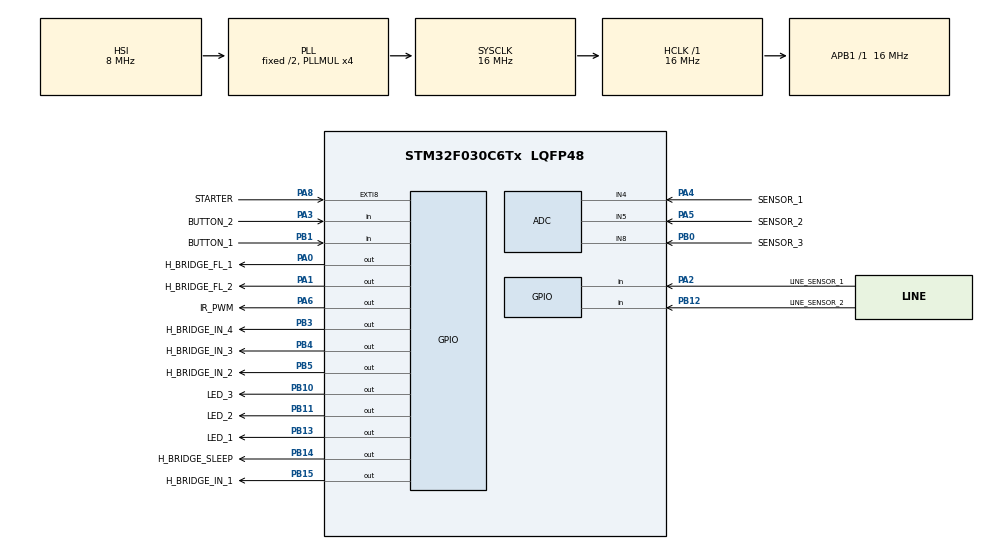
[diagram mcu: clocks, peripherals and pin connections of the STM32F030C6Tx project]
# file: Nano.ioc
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ADC.ContinuousConvMode=ENABLE
ADC.DMAContinuousRequests=DISABLE
ADC.EOCSelection=ADC_EOC_SINGLE_CONV
ADC.SamplingTime=ADC_SAMPLETIME_1CYCLE_5
Mcu.Family=STM32F0
Mcu.Name=STM32F030C6Tx
Mcu.Package=LQFP48
NVIC.ADC1_IRQn=true\:0\:0\:false\:false\:true\:true\:true\:true
NVIC.EXTI4_15_IRQn=true\:0\:0\:false\:false\:true\:true\:true\:true
NVIC.TIM3_IRQn=true\:2\:0\:true\:false\:true\:true\:true\:true
PA0.GPIO_Label=H_BRIDGE_FL_1
PA0.GPIO_PuPd=GPIO_PULLUP
PA0.PinState=GPIO_PIN_SET
PA0.Signal=GPIO_Output
PA1.GPIO_Label=H_BRIDGE_FL_2
PA1.GPIO_PuPd=GPIO_PULLUP
PA1.PinState=GPIO_PIN_SET
PA1.Signal=GPIO_Output
PA13.Mode=Serial_Wire
PA13.Signal=SYS_SWDIO
PA14.Mode=Serial_Wire
PA14.Signal=SYS_SWCLK
PA2.GPIO_Label=LINE_SENSOR_1
PA2.Signal=GPIO_Input
PA3.GPIO_Label=BUTTON_2
PA3.GPIO_PuPd=GPIO_PULLUP
PA3.Signal=GPIO_Input
PA4.GPIO_Label=SENSOR_1
PA4.Mode=IN4
PA4.Signal=ADC_IN4
PA5.GPIO_Label=SENSOR_2
PA5.Mode=IN5
PA5.Signal=ADC_IN5
PA6.GPIO_Label=IR_PWM
PA6.Signal=GPIO_Output
PA8.GPIO_Label=STARTER
PA8.GPIO_ModeDefaultEXTI=GPIO_MODE_IT_FALLING
PA8.Signal=GPXTI8
PB0.GPIO_Label=SENSOR_3
PB0.Mode=IN8
PB0.Signal=ADC_IN8
PB1.GPIO_Label=BUTTON_1
PB1.GPIO_PuPd=GPIO_PULLUP
PB1.Signal=GPIO_Input
PB10.GPIO_Label=LED_3
PB10.Signal=GPIO_Output
PB11.GPIO_Label=LED_2
PB11.Signal=GPIO_Output
PB12.GPIO_Label=LINE_SENSOR_2
PB12.Signal=GPIO_Input
PB13.GPIO_Label=LED_1
PB13.Signal=GPIO_Output
PB14.GPIO_Label=H_BRIDGE_SLEEP
PB14.GPIO_PuPd=GPIO_PULLDOWN
PB14.PinState=GPIO_PIN_SET
PB14.Signal=GPIO_Output
PB15.GPIO_Label=H_BRIDGE_IN_1
PB15.GPIO_Speed=GPIO_SPEED_FREQ_HIGH
PB15.Signal=GPIO_Output
PB3.GPIO_Label=H_BRIDGE_IN_4
PB3.GPIO_Speed=GPIO_SPEED_FREQ_HIGH
PB3.Signal=GPIO_Output
PB4.GPIO_Label=H_BRIDGE_IN_3
PB4.GPIO_Speed=GPIO_SPEED_FREQ_HIGH
PB4.Signal=GPIO_Output
PB5.GPIO_Label=H_BRIDGE_IN_2
PB5.GPIO_Speed=GPIO_SPEED_FREQ_HIGH
PB5.Signal=GPIO_Output
PF0-OSC_IN.Mode=HSE-External-Oscillator
PF0-OSC_IN.Signal=RCC_OSC_IN
PF1-OSC_OUT.Mode=HSE-External-Oscillator
PF1-OSC_OUT.Signal=RCC_OSC_OUT
ProjectManager.HeapSize=0x200
ProjectManager.StackSize=0x400
ProjectManager.TargetToolchain=STM32CubeIDE
RCC.AHBFreq_Value=16000000
RCC.APB1Freq_Value=16000000
RCC.APB1TimFreq_Value=16000000
RCC.HCLKFreq_Value=16000000
RCC.PLLMUL=RCC_PLL_MUL4
RCC.SYSCLKFreq_VALUE=16000000
RCC.SYSCLKSource=RCC_SYSCLKSOURCE_PLLCLK
TIM1.Prescaler=15
TIM3.AutoReloadPreload=TIM_AUTORELOAD_PRELOAD_ENABLE
TIM3.Period=0
TIM3.Prescaler=15999
VP_TIM1_VS_ClockSourceINT.Mode=Internal
VP_TIM3_VS_ClockSourceINT.Mode=Internal
board=custom

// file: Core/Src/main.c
/* USER CODE BEGIN Header */
/**
  ******************************************************************************
  * @file           : main.c
  * @brief          : Main program body
  ******************************************************************************
  * @attention
  *
  * Copyright (c) 2022 STMicroelectronics.
  * All rights reserved.
  *
  * This software is licensed under terms that can be found in the LICENSE file
  * in the root directory of this software component.
  * If no LICENSE file comes with this software, it is provided AS-IS.
  *
  ******************************************************************************
  */
/* USER CODE END Header */
#include "main.h"

ADC_HandleTypeDef hadc;

TIM_HandleTypeDef htim1;
TIM_HandleTypeDef htim3;

/* USER CODE BEGIN PV */
volatile static uint16_t sensor_value[3];

uint8_t line_sensor_1_value;
uint8_t line_sensor_2_value;

uint8_t button_1_value;
uint8_t button_2_value;

uint32_t tempCode;
uint8_t bitIndex;
uint8_t cmd;
uint8_t cmdli;
uint32_t code;

/* USER CODE END PV */

void SystemClock_Config(void);
static void MX_GPIO_Init(void);
static void MX_ADC_Init(void);
static void MX_TIM3_Init(void);
static void MX_TIM1_Init(void);

/* USER CODE BEGIN 0 */
void HAL_TIM_PeriodElapsedCallback(TIM_HandleTypeDef *htim)
{
  if (htim == &htim3) {
    HAL_GPIO_TogglePin(IR_PWM_GPIO_Port, IR_PWM_Pin);
    //HAL_GPIO_TogglePin(LED_1_GPIO_Port, LED_1_Pin);
  }
}

void motorBreak()
{
	HAL_GPIO_WritePin(H_BRIDGE_IN_1_GPIO_Port, H_BRIDGE_IN_1_Pin, GPIO_PIN_RESET);
	HAL_GPIO_WritePin(H_BRIDGE_IN_2_GPIO_Port, H_BRIDGE_IN_2_Pin, GPIO_PIN_RESET);
	HAL_GPIO_WritePin(H_BRIDGE_IN_3_GPIO_Port, H_BRIDGE_IN_3_Pin, GPIO_PIN_RESET);
	HAL_GPIO_WritePin(H_BRIDGE_IN_4_GPIO_Port, H_BRIDGE_IN_4_Pin, GPIO_PIN_RESET);
}
void motorRevers()
{
	HAL_GPIO_WritePin(H_BRIDGE_IN_1_GPIO_Port, H_BRIDGE_IN_1_Pin, GPIO_PIN_RESET);
	HAL_GPIO_WritePin(H_BRIDGE_IN_2_GPIO_Port, H_BRIDGE_IN_2_Pin, GPIO_PIN_SET);
	HAL_GPIO_WritePin(H_BRIDGE_IN_3_GPIO_Port, H_BRIDGE_IN_3_Pin, GPIO_PIN_SET);
	HAL_GPIO_WritePin(H_BRIDGE_IN_4_GPIO_Port, H_BRIDGE_IN_4_Pin, GPIO_PIN_RESET);
}
void motorRotationRight()
{
	HAL_GPIO_WritePin(H_BRIDGE_IN_1_GPIO_Port, H_BRIDGE_IN_1_Pin, GPIO_PIN_SET);
	HAL_GPIO_WritePin(H_BRIDGE_IN_2_GPIO_Port, H_BRIDGE_IN_2_Pin, GPIO_PIN_RESET);
	HAL_GPIO_WritePin(H_BRIDGE_IN_3_GPIO_Port, H_BRIDGE_IN_3_Pin, GPIO_PIN_SET);
	HAL_GPIO_WritePin(H_BRIDGE_IN_4_GPIO_Port, H_BRIDGE_IN_4_Pin, GPIO_PIN_RESET);
}
void motorRotationLeft()
{
	HAL_GPIO_WritePin(H_BRIDGE_IN_1_GPIO_Port, H_BRIDGE_IN_1_Pin, GPIO_PIN_RESET);
	HAL_GPIO_WritePin(H_BRIDGE_IN_2_GPIO_Port, H_BRIDGE_IN_2_Pin, GPIO_PIN_SET);
	HAL_GPIO_WritePin(H_BRIDGE_IN_3_GPIO_Port, H_BRIDGE_IN_3_Pin, GPIO_PIN_RESET);
	HAL_GPIO_WritePin(H_BRIDGE_IN_4_GPIO_Port, H_BRIDGE_IN_4_Pin, GPIO_PIN_SET);
}
void motorForward()
{
	HAL_GPIO_WritePin(H_BRIDGE_IN_1_GPIO_Port, H_BRIDGE_IN_1_Pin, GPIO_PIN_SET);
	HAL_GPIO_WritePin(H_BRIDGE_IN_2_GPIO_Port, H_BRIDGE_IN_2_Pin, GPIO_PIN_RESET);
	HAL_GPIO_WritePin(H_BRIDGE_IN_3_GPIO_Port, H_BRIDGE_IN_3_Pin, GPIO_PIN_RESET);
	HAL_GPIO_WritePin(H_BRIDGE_IN_4_GPIO_Port, H_BRIDGE_IN_4_Pin, GPIO_PIN_SET);
}
/* USER CODE END 0 */

int main(void)
{

  /* MCU Configuration--------------------------------------------------------*/

  /* Reset of all peripherals, Initializes the Flash interface and the Systick. */
  HAL_Init();

  /* Configure the system clock */
  SystemClock_Config();

  /* Initialize all configured peripherals */
  MX_GPIO_Init();
  MX_ADC_Init();
  MX_TIM3_Init();
  MX_TIM1_Init();
  /* USER CODE BEGIN 2 */
  HAL_TIM_Base_Start(&htim1);
  __HAL_TIM_SET_COUNTER(&htim1, 0);

  HAL_TIM_Base_Start_IT(&htim3);

  HAL_ADC_Start(&hadc);
  HAL_ADCEx_Calibration_Start(&hadc);

  //HAL_ADCEx_Calibration_Start(&hadc);
  //HAL_ADC_Start_DMA(&hadc, (uint32_t*)sensor_value, 3);

  /* USER CODE END 2 */

  /* Infinite loop */
  /* USER CODE BEGIN WHILE */

  while (1)
  {

	  HAL_ADC_PollForConversion(&hadc, HAL_MAX_DELAY);
	  sensor_value[0] = HAL_ADC_GetValue(&hadc);

	  HAL_ADC_PollForConversion(&hadc, HAL_MAX_DELAY);
	  sensor_value[1] = HAL_ADC_GetValue(&hadc);

	  HAL_ADC_PollForConversion(&hadc, HAL_MAX_DELAY);
	  sensor_value[2] = HAL_ADC_GetValue(&hadc);

	  line_sensor_1_value = HAL_GPIO_ReadPin(LINE_SENSOR_1_GPIO_Port,LINE_SENSOR_1_Pin);
	  line_sensor_2_value = HAL_GPIO_ReadPin(LINE_SENSOR_2_GPIO_Port,LINE_SENSOR_2_Pin);

	  if(code==1086290565)// sprawdza czy robor otrzymał start
	  {
		  while(1)
		  {
			  if(code==1086290055){while(1){motorBreak();}}
			  motorForward();

			  HAL_ADC_PollForConversion(&hadc, HAL_MAX_DELAY);
			  sensor_value[0] = HAL_ADC_GetValue(&hadc);

			  HAL_ADC_PollForConversion(&hadc, HAL_MAX_DELAY);
			  sensor_value[1] = HAL_ADC_GetValue(&hadc);

			  HAL_ADC_PollForConversion(&hadc, HAL_MAX_DELAY);
			  sensor_value[2] = HAL_ADC_GetValue(&hadc);

			  line_sensor_1_value = HAL_GPIO_ReadPin(LINE_SENSOR_1_GPIO_Port,LINE_SENSOR_1_Pin);
			  line_sensor_2_value = HAL_GPIO_ReadPin(LINE_SENSOR_2_GPIO_Port,LINE_SENSOR_2_Pin);

			  if(sensor_value[2]<=2200)motorForward();
			  else if(sensor_value[0]<=2200)motorRotationLeft();
			  else if(sensor_value[1]<=2200)motorRotationRight();
			  else if(line_sensor_1_value==0)
			  {
				  motorRevers();
				  HAL_Delay(500);
				  motorRotationLeft();
				  HAL_Delay(500);
				  motorBreak();
			  }
			  else if(line_sensor_2_value==0)
			  {
				  motorRevers();
				  HAL_Delay(500);
				  motorRotationRight();
				  HAL_Delay(500);
				  motorBreak();
			  }
			  else motorForward();

		  }

	  }
    /* USER CODE END WHILE */

  }
}

void SystemClock_Config(void)
{
  RCC_OscInitTypeDef RCC_OscInitStruct = {0};
  RCC_ClkInitTypeDef RCC_ClkInitStruct = {0};

  /** Initializes the RCC Oscillators according to the specified parameters
  * in the RCC_OscInitTypeDef structure.
  */
  RCC_OscInitStruct.OscillatorType = RCC_OSCILLATORTYPE_HSI|RCC_OSCILLATORTYPE_HSI14;
  RCC_OscInitStruct.HSIState = RCC_HSI_ON;
  RCC_OscInitStruct.HSI14State = RCC_HSI14_ON;
  RCC_OscInitStruct.HSICalibrationValue = RCC_HSICALIBRATION_DEFAULT;
  RCC_OscInitStruct.HSI14CalibrationValue = 16;
  RCC_OscInitStruct.PLL.PLLState = RCC_PLL_ON;
  RCC_OscInitStruct.PLL.PLLSource = RCC_PLLSOURCE_HSI;
  RCC_OscInitStruct.PLL.PLLMUL = RCC_PLL_MUL4;
  RCC_OscInitStruct.PLL.PREDIV = RCC_PREDIV_DIV1;
  if (HAL_RCC_OscConfig(&RCC_OscInitStruct) != HAL_OK)
  {
    Error_Handler();
  }

  /** Initializes the CPU, AHB and APB buses clocks
  */
  RCC_ClkInitStruct.ClockType = RCC_CLOCKTYPE_HCLK|RCC_CLOCKTYPE_SYSCLK
                              |RCC_CLOCKTYPE_PCLK1;
  RCC_ClkInitStruct.SYSCLKSource = RCC_SYSCLKSOURCE_PLLCLK;
  RCC_ClkInitStruct.AHBCLKDivider = RCC_SYSCLK_DIV1;
  RCC_ClkInitStruct.APB1CLKDivider = RCC_HCLK_DIV1;

  if (HAL_RCC_ClockConfig(&RCC_ClkInitStruct, FLASH_LATENCY_0) != HAL_OK)
  {
    Error_Handler();
  }
}

static void MX_ADC_Init(void)
{

  ADC_ChannelConfTypeDef sConfig = {0};

  /** Configure the global features of the ADC (Clock, Resolution, Data Alignment and number of conversion)
  */
  hadc.Instance = ADC1;
  hadc.Init.ClockPrescaler = ADC_CLOCK_ASYNC_DIV1;
  hadc.Init.Resolution = ADC_RESOLUTION_12B;
  hadc.Init.DataAlign = ADC_DATAALIGN_RIGHT;
  hadc.Init.ScanConvMode = ADC_SCAN_DIRECTION_FORWARD;
  hadc.Init.EOCSelection = ADC_EOC_SINGLE_CONV;
  hadc.Init.LowPowerAutoWait = DISABLE;
  hadc.Init.LowPowerAutoPowerOff = DISABLE;
  hadc.Init.ContinuousConvMode = ENABLE;
  hadc.Init.DiscontinuousConvMode = DISABLE;
  hadc.Init.ExternalTrigConv = ADC_SOFTWARE_START;
  hadc.Init.ExternalTrigConvEdge = ADC_EXTERNALTRIGCONVEDGE_NONE;
  hadc.Init.DMAContinuousRequests = DISABLE;
  hadc.Init.Overrun = ADC_OVR_DATA_PRESERVED;
  if (HAL_ADC_Init(&hadc) != HAL_OK)
  {
    Error_Handler();
  }

  /** Configure for the selected ADC regular channel to be converted.
  */
  sConfig.Channel = ADC_CHANNEL_4;
  sConfig.Rank = ADC_RANK_CHANNEL_NUMBER;
  sConfig.SamplingTime = ADC_SAMPLETIME_1CYCLE_5;
  if (HAL_ADC_ConfigChannel(&hadc, &sConfig) != HAL_OK)
  {
    Error_Handler();
  }

  /** Configure for the selected ADC regular channel to be converted.
  */
  sConfig.Channel = ADC_CHANNEL_5;
  if (HAL_ADC_ConfigChannel(&hadc, &sConfig) != HAL_OK)
  {
    Error_Handler();
  }

  /** Configure for the selected ADC regular channel to be converted.
  */
  sConfig.Channel = ADC_CHANNEL_8;
  if (HAL_ADC_ConfigChannel(&hadc, &sConfig) != HAL_OK)
  {
    Error_Handler();
  }

}

static void MX_TIM1_Init(void)
{

  TIM_ClockConfigTypeDef sClockSourceConfig = {0};
  TIM_MasterConfigTypeDef sMasterConfig = {0};

  htim1.Instance = TIM1;
  htim1.Init.Prescaler = 15;
  htim1.Init.CounterMode = TIM_COUNTERMODE_UP;
  htim1.Init.Period = 65535;
  htim1.Init.ClockDivision = TIM_CLOCKDIVISION_DIV1;
  htim1.Init.RepetitionCounter = 0;
  htim1.Init.AutoReloadPreload = TIM_AUTORELOAD_PRELOAD_DISABLE;
  if (HAL_TIM_Base_Init(&htim1) != HAL_OK)
  {
    Error_Handler();
  }
  sClockSourceConfig.ClockSource = TIM_CLOCKSOURCE_INTERNAL;
  if (HAL_TIM_ConfigClockSource(&htim1, &sClockSourceConfig) != HAL_OK)
  {
    Error_Handler();
  }
  sMasterConfig.MasterOutputTrigger = TIM_TRGO_RESET;
  sMasterConfig.MasterSlaveMode = TIM_MASTERSLAVEMODE_DISABLE;
  if (HAL_TIMEx_MasterConfigSynchronization(&htim1, &sMasterConfig) != HAL_OK)
  {
    Error_Handler();
  }

}

static void MX_TIM3_Init(void)
{

  TIM_ClockConfigTypeDef sClockSourceConfig = {0};
  TIM_MasterConfigTypeDef sMasterConfig = {0};

  htim3.Instance = TIM3;
  htim3.Init.Prescaler = 15999;
  htim3.Init.CounterMode = TIM_COUNTERMODE_UP;
  htim3.Init.Period = 0;
  htim3.Init.ClockDivision = TIM_CLOCKDIVISION_DIV1;
  htim3.Init.AutoReloadPreload = TIM_AUTORELOAD_PRELOAD_ENABLE;
  if (HAL_TIM_Base_Init(&htim3) != HAL_OK)
  {
    Error_Handler();
  }
  sClockSourceConfig.ClockSource = TIM_CLOCKSOURCE_INTERNAL;
  if (HAL_TIM_ConfigClockSource(&htim3, &sClockSourceConfig) != HAL_OK)
  {
    Error_Handler();
  }
  sMasterConfig.MasterOutputTrigger = TIM_TRGO_RESET;
  sMasterConfig.MasterSlaveMode = TIM_MASTERSLAVEMODE_DISABLE;
  if (HAL_TIMEx_MasterConfigSynchronization(&htim3, &sMasterConfig) != HAL_OK)
  {
    Error_Handler();
  }

}

static void MX_GPIO_Init(void)
{
  GPIO_InitTypeDef GPIO_InitStruct = {0};

  /* GPIO Ports Clock Enable */
  __HAL_RCC_GPIOF_CLK_ENABLE();
  __HAL_RCC_GPIOA_CLK_ENABLE();
  __HAL_RCC_GPIOB_CLK_ENABLE();

  /*Configure GPIO pin Output Level */
  HAL_GPIO_WritePin(GPIOA, H_BRIDGE_FL_1_Pin|H_BRIDGE_FL_2_Pin, GPIO_PIN_SET);

  /*Configure GPIO pin Output Level */
  HAL_GPIO_WritePin(IR_PWM_GPIO_Port, IR_PWM_Pin, GPIO_PIN_RESET);

  /*Configure GPIO pin Output Level */
  HAL_GPIO_WritePin(GPIOB, LED_3_Pin|LED_2_Pin|LED_1_Pin|H_BRIDGE_IN_1_Pin
                          |H_BRIDGE_IN_4_Pin|H_BRIDGE_IN_3_Pin|H_BRIDGE_IN_2_Pin, GPIO_PIN_RESET);

  /*Configure GPIO pin Output Level */
  HAL_GPIO_WritePin(H_BRIDGE_SLEEP_GPIO_Port, H_BRIDGE_SLEEP_Pin, GPIO_PIN_SET);

  /*Configure GPIO pins : H_BRIDGE_FL_1_Pin H_BRIDGE_FL_2_Pin */
  GPIO_InitStruct.Pin = H_BRIDGE_FL_1_Pin|H_BRIDGE_FL_2_Pin;
  GPIO_InitStruct.Mode = GPIO_MODE_OUTPUT_PP;
  GPIO_InitStruct.Pull = GPIO_PULLUP;
  GPIO_InitStruct.Speed = GPIO_SPEED_FREQ_LOW;
  HAL_GPIO_Init(GPIOA, &GPIO_InitStruct);

  /*Configure GPIO pin : LINE_SENSOR_1_Pin */
  GPIO_InitStruct.Pin = LINE_SENSOR_1_Pin;
  GPIO_InitStruct.Mode = GPIO_MODE_INPUT;
  GPIO_InitStruct.Pull = GPIO_NOPULL;
  HAL_GPIO_Init(LINE_SENSOR_1_GPIO_Port, &GPIO_InitStruct);

  /*Configure GPIO pin : BUTTON_2_Pin */
  GPIO_InitStruct.Pin = BUTTON_2_Pin;
  GPIO_InitStruct.Mode = GPIO_MODE_INPUT;
  GPIO_InitStruct.Pull = GPIO_PULLUP;
  HAL_GPIO_Init(BUTTON_2_GPIO_Port, &GPIO_InitStruct);

  /*Configure GPIO pin : IR_PWM_Pin */
  GPIO_InitStruct.Pin = IR_PWM_Pin;
  GPIO_InitStruct.Mode = GPIO_MODE_OUTPUT_PP;
  GPIO_InitStruct.Pull = GPIO_NOPULL;
  GPIO_InitStruct.Speed = GPIO_SPEED_FREQ_LOW;
  HAL_GPIO_Init(IR_PWM_GPIO_Port, &GPIO_InitStruct);

  /*Configure GPIO pin : BUTTON_1_Pin */
  GPIO_InitStruct.Pin = BUTTON_1_Pin;
  GPIO_InitStruct.Mode = GPIO_MODE_INPUT;
  GPIO_InitStruct.Pull = GPIO_PULLUP;
  HAL_GPIO_Init(BUTTON_1_GPIO_Port, &GPIO_InitStruct);

  /*Configure GPIO pins : LED_3_Pin LED_2_Pin LED_1_Pin */
  GPIO_InitStruct.Pin = LED_3_Pin|LED_2_Pin|LED_1_Pin;
  GPIO_InitStruct.Mode = GPIO_MODE_OUTPUT_PP;
  GPIO_InitStruct.Pull = GPIO_NOPULL;
  GPIO_InitStruct.Speed = GPIO_SPEED_FREQ_LOW;
  HAL_GPIO_Init(GPIOB, &GPIO_InitStruct);

  /*Configure GPIO pin : LINE_SENSOR_2_Pin */
  GPIO_InitStruct.Pin = LINE_SENSOR_2_Pin;
  GPIO_InitStruct.Mode = GPIO_MODE_INPUT;
  GPIO_InitStruct.Pull = GPIO_NOPULL;
  HAL_GPIO_Init(LINE_SENSOR_2_GPIO_Port, &GPIO_InitStruct);

  /*Configure GPIO pin : H_BRIDGE_SLEEP_Pin */
  GPIO_InitStruct.Pin = H_BRIDGE_SLEEP_Pin;
  GPIO_InitStruct.Mode = GPIO_MODE_OUTPUT_PP;
  GPIO_InitStruct.Pull = GPIO_PULLDOWN;
  GPIO_InitStruct.Speed = GPIO_SPEED_FREQ_LOW;
  HAL_GPIO_Init(H_BRIDGE_SLEEP_GPIO_Port, &GPIO_InitStruct);

  /*Configure GPIO pins : H_BRIDGE_IN_1_Pin H_BRIDGE_IN_4_Pin H_BRIDGE_IN_3_Pin H_BRIDGE_IN_2_Pin */
  GPIO_InitStruct.Pin = H_BRIDGE_IN_1_Pin|H_BRIDGE_IN_4_Pin|H_BRIDGE_IN_3_Pin|H_BRIDGE_IN_2_Pin;
  GPIO_InitStruct.Mode = GPIO_MODE_OUTPUT_PP;
  GPIO_InitStruct.Pull = GPIO_NOPULL;
  GPIO_InitStruct.Speed = GPIO_SPEED_FREQ_HIGH;
  HAL_GPIO_Init(GPIOB, &GPIO_InitStruct);

  /*Configure GPIO pin : STARTER_Pin */
  GPIO_InitStruct.Pin = STARTER_Pin;
  GPIO_InitStruct.Mode = GPIO_MODE_IT_FALLING;
  GPIO_InitStruct.Pull = GPIO_NOPULL;
  HAL_GPIO_Init(STARTER_GPIO_Port, &GPIO_InitStruct);

  /* EXTI interrupt init*/
  HAL_NVIC_SetPriority(EXTI4_15_IRQn, 0, 0);
  HAL_NVIC_EnableIRQ(EXTI4_15_IRQn);

}

/* USER CODE BEGIN 4 */

void HAL_GPIO_EXTI_Callback(uint16_t GPIO_Pin)
{
  if(GPIO_Pin == STARTER_Pin)
  {
    if (__HAL_TIM_GET_COUNTER(&htim1) > 8000)
    {
      tempCode = 0;
      bitIndex = 0;
    }
    else if (__HAL_TIM_GET_COUNTER(&htim1) > 1700)
    {
      tempCode |= (1UL << (31-bitIndex));   // write 1
      bitIndex++;
    }
    else if (__HAL_TIM_GET_COUNTER(&htim1) > 1000)
    {
      tempCode &= ~(1UL << (31-bitIndex));  // write 0
      bitIndex++;
    }
    if(bitIndex == 32)
    {
      cmdli = ~tempCode; // Logical inverted last 8 bits
      cmd = tempCode >> 8; // Second last 8 bits
      if(cmdli == cmd) // Check for errors
      {
        code = tempCode; // If no bit errors
      }
      bitIndex = 0;
    }
    __HAL_TIM_SET_COUNTER(&htim1, 0);
  }
}
/* USER CODE END 4 */

void Error_Handler(void)
{
  __disable_irq();
  while (1)
  {
  }
}
